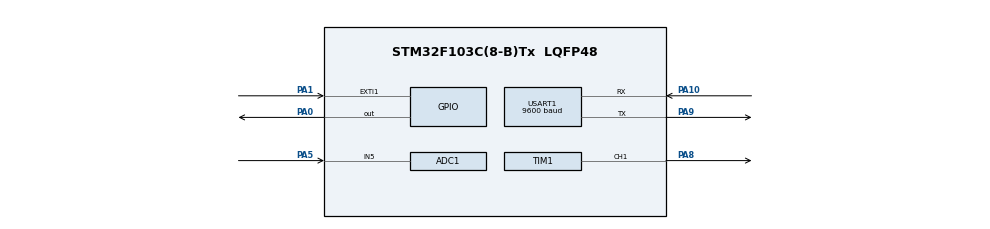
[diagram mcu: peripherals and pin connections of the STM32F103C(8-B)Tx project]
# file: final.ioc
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ADC1.Channel-2\#ChannelRegularConversion=ADC_CHANNEL_5
ADC1.ContinuousConvMode=ENABLE
ADC1.NbrOfConversionFlag=1
ADC1.Rank-2\#ChannelRegularConversion=1
ADC1.SamplingTime-2\#ChannelRegularConversion=ADC_SAMPLETIME_1CYCLE_5
ADC1.master=1
Mcu.Family=STM32F1
Mcu.Name=STM32F103C(8-B)Tx
Mcu.Package=LQFP48
NVIC.EXTI1_IRQn=true\:3\:0\:true\:false\:true\:true\:true\:true
NVIC.PriorityGroup=NVIC_PRIORITYGROUP_4
NVIC.TIM1_BRK_IRQn=true\:0\:0\:false\:false\:true\:true\:true\:true
NVIC.TIM1_CC_IRQn=true\:1\:0\:true\:false\:true\:true\:true\:true
NVIC.TIM2_IRQn=true\:4\:0\:true\:false\:true\:true\:true\:true
NVIC.USART1_IRQn=true\:2\:0\:true\:false\:true\:true\:true\:true
PA0-WKUP.Signal=GPIO_Output
PA1.GPIO_ModeDefaultEXTI=GPIO_MODE_IT_FALLING
PA1.GPIO_PuPd=GPIO_PULLUP
PA1.Signal=GPXTI1
PA10.Mode=Asynchronous
PA10.Signal=USART1_RX
PA13.Mode=Serial_Wire
PA13.Signal=SYS_JTMS-SWDIO
PA14.Mode=Serial_Wire
PA14.Signal=SYS_JTCK-SWCLK
PA5.Signal=ADCx_IN5
PA8.Signal=S_TIM1_CH1
PA9.Mode=Asynchronous
PA9.Signal=USART1_TX
PD0-OSC_IN.Mode=HSE-External-Oscillator
PD0-OSC_IN.Signal=RCC_OSC_IN
PD1-OSC_OUT.Mode=HSE-External-Oscillator
PD1-OSC_OUT.Signal=RCC_OSC_OUT
ProjectManager.HeapSize=0x200
ProjectManager.StackSize=0x400
ProjectManager.TargetToolchain=STM32CubeIDE
RCC.APB1Freq_Value=8000000
RCC.APB2Freq_Value=8000000
SH.ADCx_IN5.0=ADC1_IN5,IN5
SH.S_TIM1_CH1.0=TIM1_CH1,PWM Generation1 CH1
TIM1.Channel-PWM\ Generation1\ CH1=TIM_CHANNEL_1
TIM1.Period=1000 - 1
TIM1.Prescaler=80 - 1
TIM2.Prescaler=8000 - 1
USART1.BaudRate=9600
USART1.VirtualMode=VM_ASYNC
VP_TIM1_VS_ClockSourceINT.Mode=Internal
VP_TIM2_VS_ClockSourceINT.Mode=Internal
board=custom

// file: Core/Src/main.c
/* USER CODE BEGIN Header */
/**
  ******************************************************************************
  * @file           : main.c
  * @brief          : Main program body
  ******************************************************************************
  * @attention
  *
  * Copyright (c) 2025 STMicroelectronics.
  * All rights reserved.
  *
  * This software is licensed under terms that can be found in the LICENSE file
  * in the root directory of this software component.
  * If no LICENSE file comes with this software, it is provided AS-IS.
  *
  ******************************************************************************
  */
/* USER CODE END Header */
#include "main.h"

ADC_HandleTypeDef hadc1;

TIM_HandleTypeDef htim1;
TIM_HandleTypeDef htim2;

UART_HandleTypeDef huart1;

/* USER CODE BEGIN PV */
uint8_t rx_data;
uint8_t mode = 0;
uint8_t current_mode = 0;
uint16_t count = 0;
int8_t crc = 1;
uint32_t preV_time = 0;
uint8_t state = 0;
uint32_t adcValue;
uint32_t pwnValue;

#define MODE1_ARR_VALUE    5000 - 1
#define MODE2_ARR_VALUE    10000 - 1

/* USER CODE END PV */

void SystemClock_Config(void);
static void MX_GPIO_Init(void);
static void MX_TIM1_Init(void);
static void MX_TIM2_Init(void);
static void MX_USART1_UART_Init(void);
static void MX_ADC1_Init(void);
/* USER CODE BEGIN PFP */
void Handle_Mode_Change(uint8_t new_mode);
void Set_Timer_ARR_Value(uint32_t arr_value);
/* USER CODE END PFP */

int main(void)
{

  /* MCU Configuration--------------------------------------------------------*/

  /* Reset of all peripherals, Initializes the Flash interface and the Systick. */
  HAL_Init();

  /* Configure the system clock */
  SystemClock_Config();

  /* Initialize all configured peripherals */
  MX_GPIO_Init();
  MX_TIM1_Init();
  MX_TIM2_Init();
  MX_USART1_UART_Init();
  MX_ADC1_Init();
  /* USER CODE BEGIN 2 */
  HAL_TIM_Base_Start_IT(&htim2);
  HAL_UART_Receive_IT(&huart1,&rx_data,1);
  HAL_TIM_PWM_Start(&htim1, TIM_CHANNEL_1);
  /* USER CODE END 2 */

  /* Infinite loop */
  while (1)
  {

    /* USER CODE BEGIN 3 */
	    if(current_mode != mode)
	    {
	      Handle_Mode_Change(mode);
	      current_mode = mode;
	    }

	    switch(mode)
	    {
	      case 1:
	        HAL_Delay(100);
	        break;

	      case 2:
	        HAL_Delay(100);
	        break;

	      case 3:
	    	  HAL_Delay(5);
	        break;
	      case 5:
	    	  HAL_ADC_Start(&hadc1);
	    	  HAL_Delay(20);
	    	  adcValue = HAL_ADC_GetValue(&hadc1);
	    	  pwnValue = (adcValue * 1000) / 4095;
	    	  __HAL_TIM_SET_COMPARE(&htim1, TIM_CHANNEL_1, pwnValue);
	    	  HAL_ADC_Stop(&hadc1);
	    	  break;
	      default:
	        HAL_TIM_Base_Stop_IT(&htim2);
	        HAL_TIM_PWM_Stop(&htim1, TIM_CHANNEL_1);
	        HAL_GPIO_WritePin(GPIOA, GPIO_PIN_0, GPIO_PIN_RESET);
	        HAL_Delay(100);
	        break;
	    }

  }
  /* USER CODE END 3 */
}

void SystemClock_Config(void)
{
  RCC_OscInitTypeDef RCC_OscInitStruct = {0};
  RCC_ClkInitTypeDef RCC_ClkInitStruct = {0};
  RCC_PeriphCLKInitTypeDef PeriphClkInit = {0};

  /** Initializes the RCC Oscillators according to the specified parameters
  * in the RCC_OscInitTypeDef structure.
  */
  RCC_OscInitStruct.OscillatorType = RCC_OSCILLATORTYPE_HSI;
  RCC_OscInitStruct.HSIState = RCC_HSI_ON;
  RCC_OscInitStruct.HSICalibrationValue = RCC_HSICALIBRATION_DEFAULT;
  RCC_OscInitStruct.PLL.PLLState = RCC_PLL_NONE;
  if (HAL_RCC_OscConfig(&RCC_OscInitStruct) != HAL_OK)
  {
    Error_Handler();
  }

  /** Initializes the CPU, AHB and APB buses clocks
  */
  RCC_ClkInitStruct.ClockType = RCC_CLOCKTYPE_HCLK|RCC_CLOCKTYPE_SYSCLK
                              |RCC_CLOCKTYPE_PCLK1|RCC_CLOCKTYPE_PCLK2;
  RCC_ClkInitStruct.SYSCLKSource = RCC_SYSCLKSOURCE_HSI;
  RCC_ClkInitStruct.AHBCLKDivider = RCC_SYSCLK_DIV1;
  RCC_ClkInitStruct.APB1CLKDivider = RCC_HCLK_DIV1;
  RCC_ClkInitStruct.APB2CLKDivider = RCC_HCLK_DIV1;

  if (HAL_RCC_ClockConfig(&RCC_ClkInitStruct, FLASH_LATENCY_0) != HAL_OK)
  {
    Error_Handler();
  }
  PeriphClkInit.PeriphClockSelection = RCC_PERIPHCLK_ADC;
  PeriphClkInit.AdcClockSelection = RCC_ADCPCLK2_DIV2;
  if (HAL_RCCEx_PeriphCLKConfig(&PeriphClkInit) != HAL_OK)
  {
    Error_Handler();
  }
}

static void MX_ADC1_Init(void)
{

  ADC_ChannelConfTypeDef sConfig = {0};

  /** Common config
  */
  hadc1.Instance = ADC1;
  hadc1.Init.ScanConvMode = ADC_SCAN_DISABLE;
  hadc1.Init.ContinuousConvMode = ENABLE;
  hadc1.Init.DiscontinuousConvMode = DISABLE;
  hadc1.Init.ExternalTrigConv = ADC_SOFTWARE_START;
  hadc1.Init.DataAlign = ADC_DATAALIGN_RIGHT;
  hadc1.Init.NbrOfConversion = 1;
  if (HAL_ADC_Init(&hadc1) != HAL_OK)
  {
    Error_Handler();
  }

  /** Configure Regular Channel
  */
  sConfig.Channel = ADC_CHANNEL_5;
  sConfig.Rank = ADC_REGULAR_RANK_1;
  sConfig.SamplingTime = ADC_SAMPLETIME_1CYCLE_5;
  if (HAL_ADC_ConfigChannel(&hadc1, &sConfig) != HAL_OK)
  {
    Error_Handler();
  }

}

static void MX_TIM1_Init(void)
{

  TIM_ClockConfigTypeDef sClockSourceConfig = {0};
  TIM_MasterConfigTypeDef sMasterConfig = {0};
  TIM_OC_InitTypeDef sConfigOC = {0};
  TIM_BreakDeadTimeConfigTypeDef sBreakDeadTimeConfig = {0};

  htim1.Instance = TIM1;
  htim1.Init.Prescaler = 80 - 1;
  htim1.Init.CounterMode = TIM_COUNTERMODE_UP;
  htim1.Init.Period = 1000 - 1;
  htim1.Init.ClockDivision = TIM_CLOCKDIVISION_DIV1;
  htim1.Init.RepetitionCounter = 0;
  htim1.Init.AutoReloadPreload = TIM_AUTORELOAD_PRELOAD_DISABLE;
  if (HAL_TIM_Base_Init(&htim1) != HAL_OK)
  {
    Error_Handler();
  }
  sClockSourceConfig.ClockSource = TIM_CLOCKSOURCE_INTERNAL;
  if (HAL_TIM_ConfigClockSource(&htim1, &sClockSourceConfig) != HAL_OK)
  {
    Error_Handler();
  }
  if (HAL_TIM_PWM_Init(&htim1) != HAL_OK)
  {
    Error_Handler();
  }
  sMasterConfig.MasterOutputTrigger = TIM_TRGO_RESET;
  sMasterConfig.MasterSlaveMode = TIM_MASTERSLAVEMODE_DISABLE;
  if (HAL_TIMEx_MasterConfigSynchronization(&htim1, &sMasterConfig) != HAL_OK)
  {
    Error_Handler();
  }
  sConfigOC.OCMode = TIM_OCMODE_PWM1;
  sConfigOC.Pulse = 0;
  sConfigOC.OCPolarity = TIM_OCPOLARITY_HIGH;
  sConfigOC.OCNPolarity = TIM_OCNPOLARITY_HIGH;
  sConfigOC.OCFastMode = TIM_OCFAST_DISABLE;
  sConfigOC.OCIdleState = TIM_OCIDLESTATE_RESET;
  sConfigOC.OCNIdleState = TIM_OCNIDLESTATE_RESET;
  if (HAL_TIM_PWM_ConfigChannel(&htim1, &sConfigOC, TIM_CHANNEL_1) != HAL_OK)
  {
    Error_Handler();
  }
  sBreakDeadTimeConfig.OffStateRunMode = TIM_OSSR_DISABLE;
  sBreakDeadTimeConfig.OffStateIDLEMode = TIM_OSSI_DISABLE;
  sBreakDeadTimeConfig.LockLevel = TIM_LOCKLEVEL_OFF;
  sBreakDeadTimeConfig.DeadTime = 0;
  sBreakDeadTimeConfig.BreakState = TIM_BREAK_DISABLE;
  sBreakDeadTimeConfig.BreakPolarity = TIM_BREAKPOLARITY_HIGH;
  sBreakDeadTimeConfig.AutomaticOutput = TIM_AUTOMATICOUTPUT_DISABLE;
  if (HAL_TIMEx_ConfigBreakDeadTime(&htim1, &sBreakDeadTimeConfig) != HAL_OK)
  {
    Error_Handler();
  }
  HAL_TIM_MspPostInit(&htim1);

}

static void MX_TIM2_Init(void)
{

  TIM_ClockConfigTypeDef sClockSourceConfig = {0};
  TIM_MasterConfigTypeDef sMasterConfig = {0};

  htim2.Instance = TIM2;
  htim2.Init.Prescaler = 8000 - 1;
  htim2.Init.CounterMode = TIM_COUNTERMODE_UP;
  htim2.Init.Period = 65535;
  htim2.Init.ClockDivision = TIM_CLOCKDIVISION_DIV1;
  htim2.Init.AutoReloadPreload = TIM_AUTORELOAD_PRELOAD_DISABLE;
  if (HAL_TIM_Base_Init(&htim2) != HAL_OK)
  {
    Error_Handler();
  }
  sClockSourceConfig.ClockSource = TIM_CLOCKSOURCE_INTERNAL;
  if (HAL_TIM_ConfigClockSource(&htim2, &sClockSourceConfig) != HAL_OK)
  {
    Error_Handler();
  }
  sMasterConfig.MasterOutputTrigger = TIM_TRGO_RESET;
  sMasterConfig.MasterSlaveMode = TIM_MASTERSLAVEMODE_DISABLE;
  if (HAL_TIMEx_MasterConfigSynchronization(&htim2, &sMasterConfig) != HAL_OK)
  {
    Error_Handler();
  }

}

static void MX_USART1_UART_Init(void)
{

  huart1.Instance = USART1;
  huart1.Init.BaudRate = 9600;
  huart1.Init.WordLength = UART_WORDLENGTH_8B;
  huart1.Init.StopBits = UART_STOPBITS_1;
  huart1.Init.Parity = UART_PARITY_NONE;
  huart1.Init.Mode = UART_MODE_TX_RX;
  huart1.Init.HwFlowCtl = UART_HWCONTROL_NONE;
  huart1.Init.OverSampling = UART_OVERSAMPLING_16;
  if (HAL_UART_Init(&huart1) != HAL_OK)
  {
    Error_Handler();
  }

}

static void MX_GPIO_Init(void)
{
  GPIO_InitTypeDef GPIO_InitStruct = {0};

  /* GPIO Ports Clock Enable */
  __HAL_RCC_GPIOD_CLK_ENABLE();
  __HAL_RCC_GPIOA_CLK_ENABLE();

  /*Configure GPIO pin Output Level */
  HAL_GPIO_WritePin(GPIOA, GPIO_PIN_0, GPIO_PIN_RESET);

  /*Configure GPIO pin : PA0 */
  GPIO_InitStruct.Pin = GPIO_PIN_0;
  GPIO_InitStruct.Mode = GPIO_MODE_OUTPUT_PP;
  GPIO_InitStruct.Pull = GPIO_NOPULL;
  GPIO_InitStruct.Speed = GPIO_SPEED_FREQ_LOW;
  HAL_GPIO_Init(GPIOA, &GPIO_InitStruct);

  /*Configure GPIO pin : PA1 */
  GPIO_InitStruct.Pin = GPIO_PIN_1;
  GPIO_InitStruct.Mode = GPIO_MODE_IT_FALLING;
  GPIO_InitStruct.Pull = GPIO_PULLUP;
  HAL_GPIO_Init(GPIOA, &GPIO_InitStruct);

  /* EXTI interrupt init*/
  HAL_NVIC_SetPriority(EXTI1_IRQn, 3, 0);
  HAL_NVIC_EnableIRQ(EXTI1_IRQn);

}

/* USER CODE BEGIN 4 */
void HAL_TIM_PeriodElapsedCallback(TIM_HandleTypeDef *htim){
	if(htim ->Instance == TIM2){
		    if(mode == 1 || mode == 2)
		    {
		      HAL_GPIO_TogglePin(GPIOA, GPIO_PIN_0);
		    }
	}
}

void HAL_TIM_PWM_PulseFinishedCallback(TIM_HandleTypeDef *htim){
	if(htim -> Instance == TIM1 && mode == 3){
		count = count + crc;

		if(count >= __HAL_TIM_GET_AUTORELOAD(&htim1)){
			count = __HAL_TIM_GET_AUTORELOAD(&htim1);
			crc = - 1;
		}

		else if(count == 0){
			count = 0;
			crc = 1;
		}

		__HAL_TIM_SET_COMPARE(&htim1, TIM_CHANNEL_1, count);
	}
}

void HAL_UART_RxCpltCallback(UART_HandleTypeDef *huart)
{
  if(huart->Instance == USART1)
  {
    switch(rx_data)
    {
      case '1':
        mode = 1;
        break;
      case '2':
        mode = 2;
        break;
      case '3':
        mode = 3;
        break;
      case '4':
        mode = 4;
        break;
      case '5':
        mode = 5;
        break;
      default:
        break;
    }

    HAL_UART_Receive_IT(&huart1, &rx_data, 1);
  }
}

void Set_Timer_ARR_Value(uint32_t arr_value)
{
  __HAL_TIM_SET_AUTORELOAD(&htim2, arr_value);

  __HAL_TIM_SET_COUNTER(&htim2, 0);
}

void Handle_Mode_Change(uint8_t new_mode)
{
  HAL_TIM_Base_Stop_IT(&htim2);
  HAL_TIM_PWM_Stop(&htim1, TIM_CHANNEL_1);

  switch(new_mode)
  {
    case 1:
      Set_Timer_ARR_Value(MODE1_ARR_VALUE);

      HAL_TIM_Base_Start_IT(&htim2);

      HAL_GPIO_WritePin(GPIOA, GPIO_PIN_0, GPIO_PIN_RESET);

      HAL_UART_Transmit(&huart1, (uint8_t*)"Mode 1: LED Blink 5s\r\n", 22, 1000);
      break;

    case 2:
      Set_Timer_ARR_Value(MODE2_ARR_VALUE);

      HAL_TIM_Base_Start_IT(&htim2);

      HAL_GPIO_WritePin(GPIOA, GPIO_PIN_0, GPIO_PIN_RESET);

      HAL_UART_Transmit(&huart1, (uint8_t*)"Mode 2: LED Blink 10s\r\n", 23, 1000);
      break;

    case 3:
      __HAL_TIM_SET_AUTORELOAD(&htim1, 999);

      count = 0;

      crc = 1;

      __HAL_TIM_SET_COUNTER(&htim1, 0);

      HAL_TIM_PWM_Start_IT(&htim1, TIM_CHANNEL_1);

      HAL_UART_Transmit(&huart1, (uint8_t*)"Mode 3: PWM Dimming\r\n", 21, 1000);
      break;
    case 4:
    	state = !state;
    	HAL_GPIO_WritePin(GPIOA, GPIO_PIN_0, state ?  GPIO_PIN_RESET : GPIO_PIN_SET);
    	HAL_UART_Transmit(&huart1, (uint8_t*)"Mode 4: led togglePin\r\n", 21, 1000);
    	break;
    case 5:
    	__HAL_TIM_SET_AUTORELOAD(&htim1, 1000);

    	HAL_TIM_PWM_Start(&htim1, TIM_CHANNEL_1);

    	HAL_UART_Transmit(&huart1, (uint8_t*)"Mode 5: variable resister\r\n", 27, 1000);
    	break;

    default:
      HAL_GPIO_WritePin(GPIOA, GPIO_PIN_0, GPIO_PIN_RESET);
      HAL_UART_Transmit(&huart1, (uint8_t*)"Mode 0: All Off\r\n", 17, 1000);
      break;
  }
}

void HAL_GPIO_EXTI_Callback(uint16_t GPIO_Pin){
	 if(GPIO_Pin == GPIO_PIN_1){
		 if(HAL_GPIO_ReadPin(GPIOA, GPIO_PIN_1) == GPIO_PIN_SET){
			 uint32_t realtime = HAL_GetTick();
			 if(preV_time == 0){
				 preV_time = realtime;
			 }

			 if( realtime - preV_time >= 3000 && preV_time != 0){
			 			 			 mode = 4;
			 			 			 preV_time = 0;
			 			 			 return;
			 }

			 if( realtime - preV_time >= 700 && preV_time != 0){
			 			 preV_time = realtime;
			 			 mode++;
			 			 if(mode > 3){
			 				 mode = 1;
			 			 }

			 			 preV_time = 0;
			 }

		 }else{
			 preV_time = 0;
		 }
	}
}

/* USER CODE END 4 */

void Error_Handler(void)
{
  __disable_irq();
  while (1)
  {
  }
}
